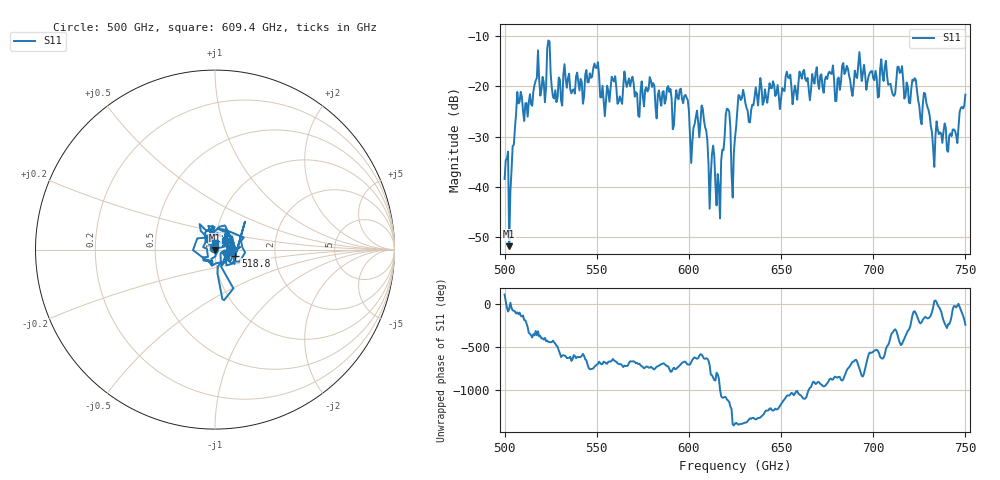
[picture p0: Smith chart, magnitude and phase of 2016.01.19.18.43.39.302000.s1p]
!Created with skrf (http://scikit-rf.org).
# GHz S RI R 50.0
!freq ReS11 ImS11
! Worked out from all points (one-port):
!   401 points, 500 GHz to 750 GHz, reference 50 ohm
!   lowest |S11| = -51.8 dB at 502.5 GHz (marker M1), VSWR 1.01, Z = 50.1 - j0.223 ohm
!   |S11| at or under -10 dB: start of sweep to end of sweep
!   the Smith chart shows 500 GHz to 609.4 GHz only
!   S11 on the Smith chart (normalised r, x): 500 GHz: 0.99, +0.02; 518.8 GHz: 1.25, -0.09; 609.4 GHz: 1.00, +0.07
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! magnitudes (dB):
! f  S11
! 500 GHz  -38.4
! 502.5 GHz  -51.8
! 507.5 GHz  -23.4
! 518.8 GHz  -18.5
! 524.4 GHz  -11.1
! 526.9 GHz  -22.4
! 531.2 GHz  -23.8
! 549.4 GHz  -16.3
! 553.1 GHz  -19.9
! 562.5 GHz  -22.0
! 593.8 GHz  -22.2
! 598.8 GHz  -22.2
! 601.9 GHz  -30.9
! 609.4 GHz  -28.8
! 615.6 GHz  -37.4
! 620.6 GHz  -24.4
! 623.8 GHz  -42.1
! 625 GHz  -30.2
! 628.1 GHz  -22.7
! 656.2 GHz  -23.6
! 687.5 GHz  -18.8
! 710.6 GHz  -21.6
! 714.4 GHz  -17.3
! 718.8 GHz  -20.0
! 728.8 GHz  -23.1
! 732.5 GHz  -32.3
! 745 GHz  -29.7
! 750 GHz  -21.7
